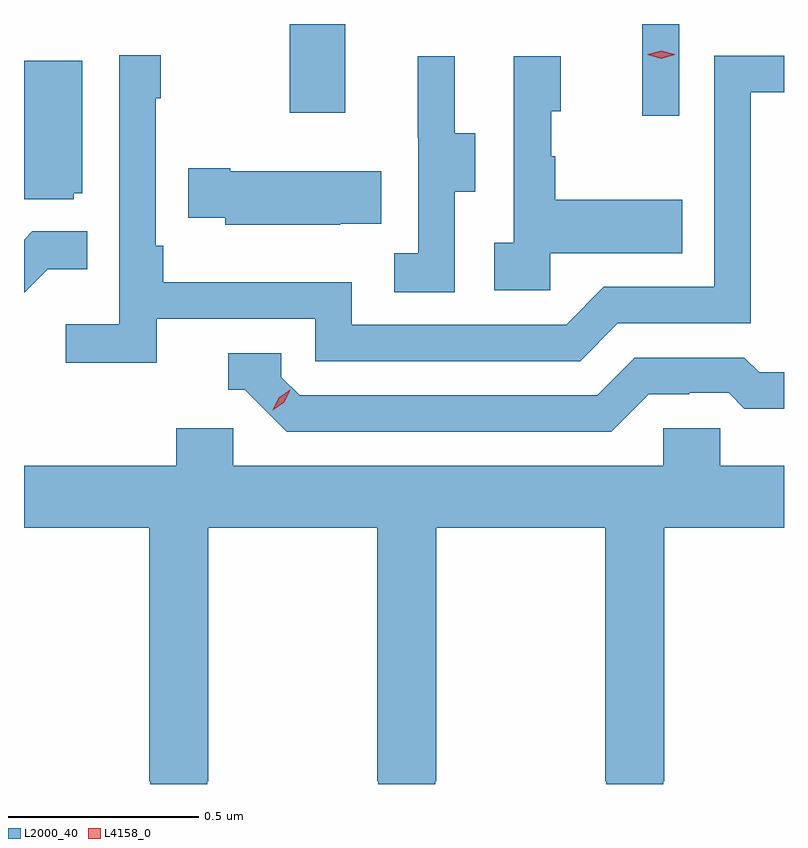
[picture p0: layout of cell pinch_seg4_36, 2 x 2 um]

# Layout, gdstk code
import gdstk
lib = gdstk.Library(unit=1e-6, precision=1e-09)
def R(c, l, rs):  # rectangles x0, y0, x1, y1
    for r in rs: c.add(gdstk.rectangle(r[:2], r[2:], *l))
def P(c, l, *ps):  # polygons
    for p in ps: c.add(gdstk.Polygon(p, *l))
L2000_40 = (2000, 40)
L4158_0 = (4158, 0)

pinch_seg4_36 = lib.new_cell('pinch_seg4_36')
R(pinch_seg4_36, L2000_40, [(1117.136,829.872,1117.233,830.114), (1116.208,829.881,1116.355,830.114)])
P(pinch_seg4_36, L2000_40, [(1115.858,829.338),(1116.276,829.338),(1116.276,829.227),(1116.973,829.227),(1117.072,829.326),(1117.422,829.326),(1117.422,829.935),(1117.509,829.935),(1117.509,830.031),(1117.326,830.031),(1117.326,829.422),(1117.035,829.422),(1116.936,829.323),(1116.372,829.323),(1116.372,829.435),(1115.876,829.435),(1115.876,829.531),(1115.856,829.531),(1115.856,829.919),(1115.869,829.919),(1115.869,830.032),(1115.76,830.032),(1115.76,829.324),(1115.619,829.324),(1115.619,829.222),(1115.858,829.222)],
  [(1116.642,829.672),(1116.697,829.672),(1116.697,829.827),(1116.643,829.827),(1116.643,830.029),(1116.545,830.029),(1116.545,829.815),(1116.546,829.815),(1116.546,829.511),(1116.483,829.511),(1116.483,829.408),(1116.642,829.408)],
  [(1116.894,829.511),(1117.241,829.511),(1117.241,829.651),(1116.907,829.651),(1116.907,829.766),(1116.897,829.766),(1116.897,829.884),(1116.922,829.884),(1116.922,830.029),(1116.798,830.029),(1116.798,829.538),(1116.747,829.538),(1116.747,829.413),(1116.894,829.413)],
  [(1115.64,829.668),(1115.662,829.668),(1115.662,830.017),(1115.509,830.017),(1115.509,829.653),(1115.64,829.653)],
  [(1116.341,829.589),(1116.449,829.589),(1116.449,829.726),(1116.052,829.726),(1116.052,829.734),(1115.941,829.734),(1115.941,829.604),(1116.039,829.604),(1116.039,829.586),(1116.341,829.586)],
  [(1115.571,829.469),(1115.675,829.469),(1115.675,829.568),(1115.531,829.568),(1115.509,829.546),(1115.509,829.407)],
  [(1117.153,829.14),(1117.26,829.14),(1117.26,829.143),(1117.363,829.143),(1117.405,829.101),(1117.509,829.101),(1117.509,829.197),(1117.444,829.197),(1117.405,829.236),(1117.116,829.236),(1117.017,829.137),(1116.234,829.137),(1116.186,829.185),(1116.186,829.248),(1116.047,829.248),(1116.047,829.152),(1116.09,829.152),(1116.201,829.041),(1117.054,829.041)],
  [(1115.991,828.121),(1115.994,828.121),(1115.994,828.788),(1116.439,828.788),(1116.439,828.121),(1116.441,828.121),(1116.441,828.114),(1116.591,828.114),(1116.591,828.121),(1116.594,828.121),(1116.594,828.788),(1117.039,828.788),(1117.039,828.121),(1117.041,828.121),(1117.041,828.114),(1117.191,828.114),(1117.191,828.121),(1117.194,828.121),(1117.194,828.788),(1117.509,828.788),(1117.509,828.952),(1117.341,828.952),(1117.341,829.05),(1117.191,829.05),(1117.191,828.952),(1116.06,828.952),(1116.06,829.05),(1115.909,829.05),(1115.909,828.952),(1115.509,828.952),(1115.509,828.788),(1115.839,828.788),(1115.839,828.121),(1115.841,828.121),(1115.841,828.114),(1115.991,828.114)])
P(pinch_seg4_36, L4158_0, [(1116.164,829.098),(1116.164,829.098),(1116.18,829.131),(1116.21,829.151),(1116.21,829.151),(1116.21,829.15),(1116.194,829.118),(1116.164,829.098)],
  [(1117.186,830.023),(1117.151,830.033),(1117.151,830.033),(1117.151,830.034),(1117.186,830.043),(1117.221,830.034),(1117.221,830.033),(1117.221,830.033)])

lib.write_gds('pinch_seg4_36.gds')
